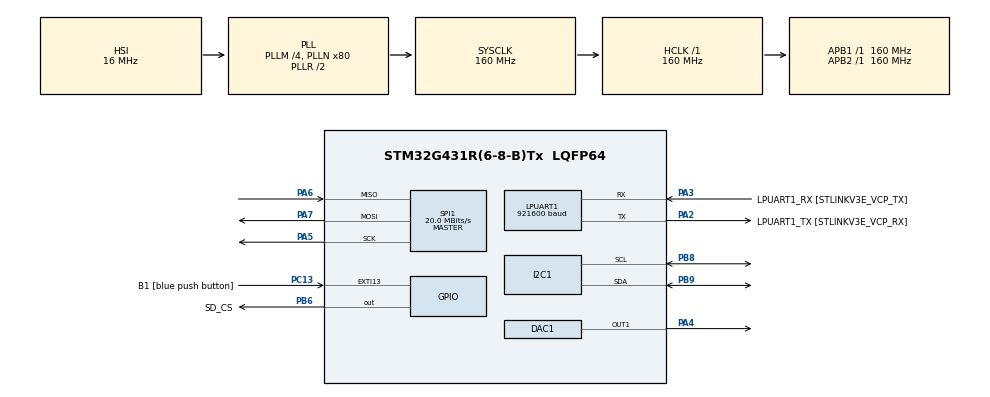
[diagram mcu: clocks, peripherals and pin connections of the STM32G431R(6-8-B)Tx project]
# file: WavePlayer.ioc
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DAC1.DAC_Trigger_OUT1-DAC_OUT1=DAC_TRIGGER_T6_TRGO
Dma.DAC1_CH1.1.Direction=DMA_MEMORY_TO_PERIPH
Dma.DAC1_CH1.1.EventEnable=DISABLE
Dma.DAC1_CH1.1.Instance=DMA2_Channel1
Dma.DAC1_CH1.1.MemDataAlignment=DMA_MDATAALIGN_HALFWORD
Dma.DAC1_CH1.1.MemInc=DMA_MINC_ENABLE
Dma.DAC1_CH1.1.Mode=DMA_NORMAL
Dma.DAC1_CH1.1.PeriphDataAlignment=DMA_PDATAALIGN_WORD
Dma.DAC1_CH1.1.PeriphInc=DMA_PINC_DISABLE
Dma.DAC1_CH1.1.Polarity=HAL_DMAMUX_REQ_GEN_RISING
Dma.DAC1_CH1.1.Priority=DMA_PRIORITY_LOW
Dma.DAC1_CH1.1.RequestNumber=1
Dma.DAC1_CH1.1.SignalID=NONE
Dma.DAC1_CH1.1.SyncEnable=DISABLE
Dma.DAC1_CH1.1.SyncPolarity=HAL_DMAMUX_SYNC_NO_EVENT
Dma.DAC1_CH1.1.SyncRequestNumber=1
Dma.DAC1_CH1.1.SyncSignalID=NONE
Dma.I2C1_TX.0.Direction=DMA_MEMORY_TO_PERIPH
Dma.I2C1_TX.0.EventEnable=DISABLE
Dma.I2C1_TX.0.Instance=DMA1_Channel1
Dma.I2C1_TX.0.MemDataAlignment=DMA_MDATAALIGN_BYTE
Dma.I2C1_TX.0.MemInc=DMA_MINC_ENABLE
Dma.I2C1_TX.0.Mode=DMA_NORMAL
Dma.I2C1_TX.0.PeriphDataAlignment=DMA_PDATAALIGN_BYTE
Dma.I2C1_TX.0.PeriphInc=DMA_PINC_DISABLE
Dma.I2C1_TX.0.Polarity=HAL_DMAMUX_REQ_GEN_RISING
Dma.I2C1_TX.0.Priority=DMA_PRIORITY_LOW
Dma.I2C1_TX.0.RequestNumber=1
Dma.I2C1_TX.0.SignalID=NONE
Dma.I2C1_TX.0.SyncEnable=DISABLE
Dma.I2C1_TX.0.SyncPolarity=HAL_DMAMUX_SYNC_NO_EVENT
Dma.I2C1_TX.0.SyncRequestNumber=1
Dma.I2C1_TX.0.SyncSignalID=NONE
Dma.LPUART1_TX.2.Direction=DMA_MEMORY_TO_PERIPH
Dma.LPUART1_TX.2.EventEnable=DISABLE
Dma.LPUART1_TX.2.Instance=DMA1_Channel3
Dma.LPUART1_TX.2.MemDataAlignment=DMA_MDATAALIGN_BYTE
Dma.LPUART1_TX.2.MemInc=DMA_MINC_ENABLE
Dma.LPUART1_TX.2.Mode=DMA_NORMAL
Dma.LPUART1_TX.2.PeriphDataAlignment=DMA_PDATAALIGN_BYTE
Dma.LPUART1_TX.2.PeriphInc=DMA_PINC_DISABLE
Dma.LPUART1_TX.2.Polarity=HAL_DMAMUX_REQ_GEN_RISING
Dma.LPUART1_TX.2.Priority=DMA_PRIORITY_LOW
Dma.LPUART1_TX.2.RequestNumber=1
Dma.LPUART1_TX.2.SignalID=NONE
Dma.LPUART1_TX.2.SyncEnable=DISABLE
Dma.LPUART1_TX.2.SyncPolarity=HAL_DMAMUX_SYNC_NO_EVENT
Dma.LPUART1_TX.2.SyncRequestNumber=1
Dma.LPUART1_TX.2.SyncSignalID=NONE
Dma.Request0=I2C1_TX
Dma.Request1=DAC1_CH1
Dma.Request2=LPUART1_TX
FATFS._CODE_PAGE=850
FATFS._FS_NORTC=0
FATFS._FS_RPATH=1
FATFS._LFN_UNICODE=0
FATFS._MAX_SS=1024
FATFS._STRF_ENCODE=3
FATFS._USE_LFN=1
I2C1.Timing=0x30909DEC
LPUART1.BaudRate=921600
Mcu.Family=STM32G4
Mcu.Name=STM32G431R(6-8-B)Tx
Mcu.Package=LQFP64
NVIC.DMA1_Channel1_IRQn=true\:0\:0\:false\:false\:true\:false\:true
NVIC.DMA1_Channel3_IRQn=true\:0\:0\:false\:false\:true\:false\:true
NVIC.DMA2_Channel1_IRQn=true\:0\:0\:false\:false\:true\:false\:true
NVIC.EXTI15_10_IRQn=true\:0\:0\:false\:false\:true\:true\:true
NVIC.I2C1_EV_IRQn=true\:0\:0\:false\:false\:true\:true\:true
NVIC.LPUART1_IRQn=true\:0\:0\:false\:false\:true\:true\:true
NVIC.PriorityGroup=NVIC_PRIORITYGROUP_4
NVIC.RTC_WKUP_IRQn=true\:0\:0\:true\:false\:true\:true\:true
PA13.GPIO_Label=T_SWDIO
PA13.Mode=Serial_Wire
PA13.Signal=SYS_JTMS-SWDIO
PA14.GPIO_Label=T_SWCLK
PA14.Mode=Serial_Wire
PA14.Signal=SYS_JTCK-SWCLK
PA2.GPIO_Label=LPUART1_TX [STLINKV3E_VCP_RX]
PA2.GPIO_Speed=GPIO_SPEED_FREQ_MEDIUM
PA2.Mode=Asynchronous
PA2.Signal=LPUART1_TX
PA3.GPIO_Label=LPUART1_RX [STLINKV3E_VCP_TX]
PA3.GPIO_Speed=GPIO_SPEED_FREQ_MEDIUM
PA3.Mode=Asynchronous
PA3.Signal=LPUART1_RX
PA4.Signal=COMP_DAC11_group
PA5.GPIO_Speed=GPIO_SPEED_FREQ_VERY_HIGH
PA5.Mode=Full_Duplex_Master
PA5.Signal=SPI1_SCK
PA6.GPIO_Speed=GPIO_SPEED_FREQ_VERY_HIGH
PA6.Mode=Full_Duplex_Master
PA6.Signal=SPI1_MISO
PA7.GPIO_Speed=GPIO_SPEED_FREQ_VERY_HIGH
PA7.Mode=Full_Duplex_Master
PA7.Signal=SPI1_MOSI
PB3.GPIO_Label=T_SWO
PB3.Signal=SYS_JTDO-SWO
PB6.GPIO_Label=SD_CS
PB6.Signal=GPIO_Output
PB8-BOOT0.Mode=I2C
PB8-BOOT0.Signal=I2C1_SCL
PB9.Mode=I2C
PB9.Signal=I2C1_SDA
PC13.GPIO_Label=B1 [blue push button]
PC13.Signal=GPXTI13
PC14-OSC32_IN.Mode=LSE-External-Oscillator
PC14-OSC32_IN.Signal=RCC_OSC32_IN
PC15-OSC32_OUT.Mode=LSE-External-Oscillator
PC15-OSC32_OUT.Signal=RCC_OSC32_OUT
PF0-OSC_IN.Signal=RCC_OSC_IN
PF1-OSC_OUT.Signal=RCC_OSC_OUT
ProjectManager.HeapSize=0x400
ProjectManager.StackSize=0x800
ProjectManager.TargetToolchain=Makefile
RCC.ADC12Freq_Value=160000000
RCC.AHBFreq_Value=160000000
RCC.APB1Freq_Value=160000000
RCC.APB1TimFreq_Value=160000000
RCC.APB2Freq_Value=160000000
RCC.APB2TimFreq_Value=160000000
RCC.CortexFreq_Value=160000000
RCC.EXTERNAL_CLOCK_VALUE=12288000
RCC.HCLKFreq_Value=160000000
RCC.HSE_VALUE=24000000
RCC.HSI48_VALUE=48000000
RCC.HSI_VALUE=16000000
RCC.PLLM=RCC_PLLM_DIV4
RCC.PLLN=80
RCC.RTCClockSelection=RCC_RTCCLKSOURCE_LSE
RCC.SYSCLKFreq_VALUE=160000000
RCC.SYSCLKSource=RCC_SYSCLKSOURCE_PLLCLK
RCC.USBFreq_Value=160000000
RCC.VCOOutputFreq_Value=320000000
RTC.Date=15
RTC.Format=RTC_FORMAT_BIN
RTC.Hours=14
RTC.Minutes=21
RTC.Month=RTC_MONTH_MARCH
RTC.Seconds=12
RTC.WakeUpClock-WakeUp=RTC_WAKEUPCLOCK_CK_SPRE_16BITS
RTC.WeekDay=RTC_WEEKDAY_MONDAY
RTC.Year=21
SH.COMP_DAC11_group.0=DAC1_OUT1,DAC_OUT1
SPI1.BaudRatePrescaler=SPI_BAUDRATEPRESCALER_8
SPI1.CalculateBaudRate=20.0 MBits/s
SPI1.DataSize=SPI_DATASIZE_8BIT
SPI1.Direction=SPI_DIRECTION_2LINES
SPI1.Mode=SPI_MODE_MASTER
SPI1.NSSPMode=SPI_NSS_PULSE_DISABLE
SPI1.VirtualType=VM_MASTER
TIM6.TIM_MasterOutputTrigger=TIM_TRGO_UPDATE
VP_FATFS_VS_Generic.Mode=User_defined
VP_RTC_VS_RTC_Activate.Mode=RTC_Enabled
VP_RTC_VS_RTC_Calendar.Mode=RTC_Calendar
VP_RTC_VS_RTC_WakeUp_intern.Mode=WakeUp
VP_SYS_VS_DBSignals.Mode=DisableDeadBatterySignals
VP_TIM6_VS_ClockSourceINT.Mode=Enable_Timer
board=NUCLEO-G431RB

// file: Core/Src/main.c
/* USER CODE BEGIN Header */
/**
  ******************************************************************************
  * @file           : main.c
  * @brief          : Main program body
  ******************************************************************************
  * @attention
  *
  * <h2><center>&copy; Copyright (c) 2021 STMicroelectronics.
  * All rights reserved.</center></h2>
  *
  * This software component is licensed by ST under BSD 3-Clause license,
  * the "License"; You may not use this file except in compliance with the
  * License. You may obtain a copy of the License at:
  *                        opensource.org/licenses/BSD-3-Clause
  *
  ******************************************************************************
  */
/* USER CODE END Header */
#include "main.h"
#include "app_fatfs.h"

/* USER CODE BEGIN Includes */
#include "ssd1306.h"
#include "fonts.h"
#include "stm32g4xx_lp_modes.h"
#include "fatfs_sd.h"
#include "wav.h"
#include "printf.h"

/* USER CODE END Includes */

DAC_HandleTypeDef hdac1;
DMA_HandleTypeDef hdma_dac1_ch1;

I2C_HandleTypeDef hi2c1;
DMA_HandleTypeDef hdma_i2c1_tx;

UART_HandleTypeDef hlpuart1;
DMA_HandleTypeDef hdma_lpuart1_tx;

RTC_HandleTypeDef hrtc;

SPI_HandleTypeDef hspi1;

TIM_HandleTypeDef htim6;

/* USER CODE BEGIN PV */
SSD1306_COLOR lcdColor = White;
uint8_t timerFlag = 0;
extern uint8_t playerBusy;
extern uint8_t playerBuffEmpty;

/* USER CODE END PV */

void SystemClock_Config(void);
static void MX_GPIO_Init(void);
static void MX_DMA_Init(void);
static void MX_LPUART1_UART_Init(void);
static void MX_I2C1_Init(void);
static void MX_RTC_Init(void);
static void MX_DAC1_Init(void);
static void MX_SPI1_Init(void);
static void MX_TIM6_Init(void);

/* USER CODE BEGIN 0 */

void _putchar(char character)
{
  // send char to console etc.
  uint8_t s[2] = { 0 };
  s[0] = character;
  HAL_UART_Transmit(&hlpuart1, s, 1, 1);
}

/* USER CODE END 0 */

int main(void)
{
  /* USER CODE BEGIN 1 */
  int count = 1;
  char tmpBuf[128] = {0};
  RTC_TimeTypeDef timeOfRtc = {0};
  RTC_DateTypeDef dayOfRtc = {0};

  /* USER CODE END 1 */

  /* MCU Configuration--------------------------------------------------------*/

  /* Reset of all peripherals, Initializes the Flash interface and the Systick. */
  HAL_Init();

  /* Configure the system clock */
  SystemClock_Config();

  /* Initialize all configured peripherals */
  MX_GPIO_Init();
  MX_DMA_Init();
  MX_LPUART1_UART_Init();
  MX_I2C1_Init();
  MX_RTC_Init();
  MX_DAC1_Init();
  MX_SPI1_Init();
  if (MX_FATFS_Init() != APP_OK) {
    Error_Handler();
  }
  MX_TIM6_Init();
  /* USER CODE BEGIN 2 */

  ssd1306_Init();
  HAL_Delay(50);
  ssd1306_Fill(Black);

  ssd1306_SetCursor(8,8);
  ssd1306_WriteString("Init...",Font_11x18,White);
  ssd1306_UpdateScreen();
  HAL_Delay(200);

  HAL_RTCEx_DeactivateWakeUpTimer(&hrtc);
  HAL_RTCEx_SetWakeUpTimer_IT(&hrtc, 0, RTC_WAKEUPCLOCK_CK_SPRE_16BITS);

  WavPlayerInit(&htim6, &hdac1);

  HAL_TIM_Base_Start(&htim6);

  if (playerBusy == 0)
  {
    //WavPlayAll();
#if 1
	WavPlayFile("Afire.WAV");
#else
	WavPlayFile("ymdnzs.WAV");
	//WavPlayFile("TS.WAV");
#endif
  }

  /* USER CODE END 2 */

  /* Infinite loop */
  while (1)
  {

    /* USER CODE BEGIN 3 */
    //HAL_GPIO_TogglePin(LD2_GPIO_Port, LD2_Pin);

    //sprintf(tmpBuf, "Rtc:20%02d-%02d-%02dT%02d:%02d:%02d\n\r", dayOfRtc.Year, dayOfRtc.Month, dayOfRtc.Date
      //, timeOfRtc.Hours, timeOfRtc.Minutes, timeOfRtc.Seconds);
    //HAL_UART_Transmit(&hlpuart1, (uint8_t*)tmpBuf, 64, 64);

    if (timerFlag != 0)
    {
		timerFlag = 0;
		count++;
		if (count % 60 == 0)
		{
			if (lcdColor == Black)
			{
				lcdColor = White;
				ssd1306_Fill(Black);
			}
			else
			{
				lcdColor = Black;
				ssd1306_Fill(White);
			}
			if (playerBusy == 0)
			{
				WavPlayFile("TS.WAV");
			}
		}
		HAL_RTC_GetTime(&hrtc, &timeOfRtc, RTC_FORMAT_BIN);
		HAL_RTC_GetDate(&hrtc, &dayOfRtc, RTC_FORMAT_BIN);

		ssd1306_SetCursor(0,8);
		sprintf(tmpBuf, "%02d:%02d:%02d", timeOfRtc.Hours, timeOfRtc.Minutes, timeOfRtc.Seconds);
		ssd1306_WriteString(tmpBuf,Font_11x18,lcdColor);
		ssd1306_UpdateScreen();
    }
	if (playerBuffEmpty != 0)
	{
		PlayTask();
	}
  }
  /* USER CODE END 3 */
}

void SystemClock_Config(void)
{
  RCC_OscInitTypeDef RCC_OscInitStruct = {0};
  RCC_ClkInitTypeDef RCC_ClkInitStruct = {0};
  RCC_PeriphCLKInitTypeDef PeriphClkInit = {0};

  /** Configure the main internal regulator output voltage
  */
  HAL_PWREx_ControlVoltageScaling(PWR_REGULATOR_VOLTAGE_SCALE1_BOOST);
  /** Configure LSE Drive Capability
  */
  HAL_PWR_EnableBkUpAccess();
  __HAL_RCC_LSEDRIVE_CONFIG(RCC_LSEDRIVE_LOW);
  /** Initializes the RCC Oscillators according to the specified parameters
  * in the RCC_OscInitTypeDef structure.
  */
  RCC_OscInitStruct.OscillatorType = RCC_OSCILLATORTYPE_HSI|RCC_OSCILLATORTYPE_LSE;
  RCC_OscInitStruct.LSEState = RCC_LSE_ON;
  RCC_OscInitStruct.HSIState = RCC_HSI_ON;
  RCC_OscInitStruct.HSICalibrationValue = RCC_HSICALIBRATION_DEFAULT;
  RCC_OscInitStruct.PLL.PLLState = RCC_PLL_ON;
  RCC_OscInitStruct.PLL.PLLSource = RCC_PLLSOURCE_HSI;
  RCC_OscInitStruct.PLL.PLLM = RCC_PLLM_DIV4;
  RCC_OscInitStruct.PLL.PLLN = 80;
  RCC_OscInitStruct.PLL.PLLP = RCC_PLLP_DIV2;
  RCC_OscInitStruct.PLL.PLLQ = RCC_PLLQ_DIV2;
  RCC_OscInitStruct.PLL.PLLR = RCC_PLLR_DIV2;
  if (HAL_RCC_OscConfig(&RCC_OscInitStruct) != HAL_OK)
  {
    Error_Handler();
  }
  /** Initializes the CPU, AHB and APB buses clocks
  */
  RCC_ClkInitStruct.ClockType = RCC_CLOCKTYPE_HCLK|RCC_CLOCKTYPE_SYSCLK
                              |RCC_CLOCKTYPE_PCLK1|RCC_CLOCKTYPE_PCLK2;
  RCC_ClkInitStruct.SYSCLKSource = RCC_SYSCLKSOURCE_PLLCLK;
  RCC_ClkInitStruct.AHBCLKDivider = RCC_SYSCLK_DIV1;
  RCC_ClkInitStruct.APB1CLKDivider = RCC_HCLK_DIV1;
  RCC_ClkInitStruct.APB2CLKDivider = RCC_HCLK_DIV1;

  if (HAL_RCC_ClockConfig(&RCC_ClkInitStruct, FLASH_LATENCY_4) != HAL_OK)
  {
    Error_Handler();
  }
  /** Initializes the peripherals clocks
  */
  PeriphClkInit.PeriphClockSelection = RCC_PERIPHCLK_RTC|RCC_PERIPHCLK_LPUART1
                              |RCC_PERIPHCLK_I2C1;
  PeriphClkInit.Lpuart1ClockSelection = RCC_LPUART1CLKSOURCE_PCLK1;
  PeriphClkInit.I2c1ClockSelection = RCC_I2C1CLKSOURCE_PCLK1;
  PeriphClkInit.RTCClockSelection = RCC_RTCCLKSOURCE_LSE;

  if (HAL_RCCEx_PeriphCLKConfig(&PeriphClkInit) != HAL_OK)
  {
    Error_Handler();
  }
}

static void MX_DAC1_Init(void)
{

  DAC_ChannelConfTypeDef sConfig = {0};

  /** DAC Initialization
  */
  hdac1.Instance = DAC1;
  if (HAL_DAC_Init(&hdac1) != HAL_OK)
  {
    Error_Handler();
  }
  /** DAC channel OUT1 config
  */
  sConfig.DAC_HighFrequency = DAC_HIGH_FREQUENCY_INTERFACE_MODE_AUTOMATIC;
  sConfig.DAC_DMADoubleDataMode = DISABLE;
  sConfig.DAC_SignedFormat = DISABLE;
  sConfig.DAC_SampleAndHold = DAC_SAMPLEANDHOLD_DISABLE;
  sConfig.DAC_Trigger = DAC_TRIGGER_T6_TRGO;
  sConfig.DAC_Trigger2 = DAC_TRIGGER_NONE;
  sConfig.DAC_OutputBuffer = DAC_OUTPUTBUFFER_ENABLE;
  sConfig.DAC_ConnectOnChipPeripheral = DAC_CHIPCONNECT_EXTERNAL;
  sConfig.DAC_UserTrimming = DAC_TRIMMING_FACTORY;
  if (HAL_DAC_ConfigChannel(&hdac1, &sConfig, DAC_CHANNEL_1) != HAL_OK)
  {
    Error_Handler();
  }

}

static void MX_I2C1_Init(void)
{

  hi2c1.Instance = I2C1;
  hi2c1.Init.Timing = 0x30909DEC;
  hi2c1.Init.OwnAddress1 = 0;
  hi2c1.Init.AddressingMode = I2C_ADDRESSINGMODE_7BIT;
  hi2c1.Init.DualAddressMode = I2C_DUALADDRESS_DISABLE;
  hi2c1.Init.OwnAddress2 = 0;
  hi2c1.Init.OwnAddress2Masks = I2C_OA2_NOMASK;
  hi2c1.Init.GeneralCallMode = I2C_GENERALCALL_DISABLE;
  hi2c1.Init.NoStretchMode = I2C_NOSTRETCH_DISABLE;
  if (HAL_I2C_Init(&hi2c1) != HAL_OK)
  {
    Error_Handler();
  }
  /** Configure Analogue filter
  */
  if (HAL_I2CEx_ConfigAnalogFilter(&hi2c1, I2C_ANALOGFILTER_ENABLE) != HAL_OK)
  {
    Error_Handler();
  }
  /** Configure Digital filter
  */
  if (HAL_I2CEx_ConfigDigitalFilter(&hi2c1, 0) != HAL_OK)
  {
    Error_Handler();
  }

}

static void MX_LPUART1_UART_Init(void)
{

  hlpuart1.Instance = LPUART1;
  hlpuart1.Init.BaudRate = 921600;
  hlpuart1.Init.WordLength = UART_WORDLENGTH_8B;
  hlpuart1.Init.StopBits = UART_STOPBITS_1;
  hlpuart1.Init.Parity = UART_PARITY_NONE;
  hlpuart1.Init.Mode = UART_MODE_TX_RX;
  hlpuart1.Init.HwFlowCtl = UART_HWCONTROL_NONE;
  hlpuart1.Init.OneBitSampling = UART_ONE_BIT_SAMPLE_DISABLE;
  hlpuart1.Init.ClockPrescaler = UART_PRESCALER_DIV1;
  hlpuart1.AdvancedInit.AdvFeatureInit = UART_ADVFEATURE_NO_INIT;
  if (HAL_UART_Init(&hlpuart1) != HAL_OK)
  {
    Error_Handler();
  }
  if (HAL_UARTEx_SetTxFifoThreshold(&hlpuart1, UART_TXFIFO_THRESHOLD_1_8) != HAL_OK)
  {
    Error_Handler();
  }
  if (HAL_UARTEx_SetRxFifoThreshold(&hlpuart1, UART_RXFIFO_THRESHOLD_1_8) != HAL_OK)
  {
    Error_Handler();
  }
  if (HAL_UARTEx_DisableFifoMode(&hlpuart1) != HAL_OK)
  {
    Error_Handler();
  }

}

static void MX_RTC_Init(void)
{

  RTC_TimeTypeDef sTime = {0};
  RTC_DateTypeDef sDate = {0};

  /** Initialize RTC Only
  */
  hrtc.Instance = RTC;
  hrtc.Init.HourFormat = RTC_HOURFORMAT_24;
  hrtc.Init.AsynchPrediv = 127;
  hrtc.Init.SynchPrediv = 255;
  hrtc.Init.OutPut = RTC_OUTPUT_DISABLE;
  hrtc.Init.OutPutRemap = RTC_OUTPUT_REMAP_NONE;
  hrtc.Init.OutPutPolarity = RTC_OUTPUT_POLARITY_HIGH;
  hrtc.Init.OutPutType = RTC_OUTPUT_TYPE_OPENDRAIN;
  hrtc.Init.OutPutPullUp = RTC_OUTPUT_PULLUP_NONE;
  if (HAL_RTC_Init(&hrtc) != HAL_OK)
  {
    Error_Handler();
  }

  /* USER CODE BEGIN Check_RTC_BKUP */
  if (HAL_RTCEx_BKUPRead(&hrtc, 0) == 0xfc)
  {
    goto exit;
  }

  HAL_RTCEx_BKUPWrite(&hrtc, 0, 0xfc);

  /* USER CODE END Check_RTC_BKUP */

  /** Initialize RTC and set the Time and Date
  */
  sTime.Hours = 14;
  sTime.Minutes = 21;
  sTime.Seconds = 12;
  sTime.SubSeconds = 0;
  sTime.DayLightSaving = RTC_DAYLIGHTSAVING_NONE;
  sTime.StoreOperation = RTC_STOREOPERATION_RESET;
  if (HAL_RTC_SetTime(&hrtc, &sTime, RTC_FORMAT_BIN) != HAL_OK)
  {
    Error_Handler();
  }
  sDate.WeekDay = RTC_WEEKDAY_MONDAY;
  sDate.Month = RTC_MONTH_MARCH;
  sDate.Date = 15;
  sDate.Year = 21;

  if (HAL_RTC_SetDate(&hrtc, &sDate, RTC_FORMAT_BIN) != HAL_OK)
  {
    Error_Handler();
  }
  /** Enable the WakeUp
  */
  if (HAL_RTCEx_SetWakeUpTimer_IT(&hrtc, 0, RTC_WAKEUPCLOCK_CK_SPRE_16BITS) != HAL_OK)
  {
    Error_Handler();
  }
  /* USER CODE BEGIN RTC_Init 2 */
  exit:;
  /* USER CODE END RTC_Init 2 */

}

static void MX_SPI1_Init(void)
{

  /* SPI1 parameter configuration*/
  hspi1.Instance = SPI1;
  hspi1.Init.Mode = SPI_MODE_MASTER;
  hspi1.Init.Direction = SPI_DIRECTION_2LINES;
  hspi1.Init.DataSize = SPI_DATASIZE_8BIT;
  hspi1.Init.CLKPolarity = SPI_POLARITY_LOW;
  hspi1.Init.CLKPhase = SPI_PHASE_1EDGE;
  hspi1.Init.NSS = SPI_NSS_SOFT;
  hspi1.Init.BaudRatePrescaler = SPI_BAUDRATEPRESCALER_8;
  hspi1.Init.FirstBit = SPI_FIRSTBIT_MSB;
  hspi1.Init.TIMode = SPI_TIMODE_DISABLE;
  hspi1.Init.CRCCalculation = SPI_CRCCALCULATION_DISABLE;
  hspi1.Init.CRCPolynomial = 7;
  hspi1.Init.CRCLength = SPI_CRC_LENGTH_DATASIZE;
  hspi1.Init.NSSPMode = SPI_NSS_PULSE_DISABLE;
  if (HAL_SPI_Init(&hspi1) != HAL_OK)
  {
    Error_Handler();
  }

}

static void MX_TIM6_Init(void)
{

  TIM_MasterConfigTypeDef sMasterConfig = {0};

  htim6.Instance = TIM6;
  htim6.Init.Prescaler = 0;
  htim6.Init.CounterMode = TIM_COUNTERMODE_UP;
  htim6.Init.Period = 65535;
  htim6.Init.AutoReloadPreload = TIM_AUTORELOAD_PRELOAD_DISABLE;
  if (HAL_TIM_Base_Init(&htim6) != HAL_OK)
  {
    Error_Handler();
  }
  sMasterConfig.MasterOutputTrigger = TIM_TRGO_UPDATE;
  sMasterConfig.MasterSlaveMode = TIM_MASTERSLAVEMODE_DISABLE;
  if (HAL_TIMEx_MasterConfigSynchronization(&htim6, &sMasterConfig) != HAL_OK)
  {
    Error_Handler();
  }

}

static void MX_DMA_Init(void)
{

  /* DMA controller clock enable */
  __HAL_RCC_DMAMUX1_CLK_ENABLE();
  __HAL_RCC_DMA1_CLK_ENABLE();
  __HAL_RCC_DMA2_CLK_ENABLE();

  /* DMA interrupt init */
  /* DMA1_Channel1_IRQn interrupt configuration */
  HAL_NVIC_SetPriority(DMA1_Channel1_IRQn, 0, 0);
  HAL_NVIC_EnableIRQ(DMA1_Channel1_IRQn);
  /* DMA1_Channel3_IRQn interrupt configuration */
  HAL_NVIC_SetPriority(DMA1_Channel3_IRQn, 0, 0);
  HAL_NVIC_EnableIRQ(DMA1_Channel3_IRQn);
  /* DMA2_Channel1_IRQn interrupt configuration */
  HAL_NVIC_SetPriority(DMA2_Channel1_IRQn, 0, 0);
  HAL_NVIC_EnableIRQ(DMA2_Channel1_IRQn);

}

static void MX_GPIO_Init(void)
{
  GPIO_InitTypeDef GPIO_InitStruct = {0};

  /* GPIO Ports Clock Enable */
  __HAL_RCC_GPIOC_CLK_ENABLE();
  __HAL_RCC_GPIOF_CLK_ENABLE();
  __HAL_RCC_GPIOG_CLK_ENABLE();
  __HAL_RCC_GPIOA_CLK_ENABLE();
  __HAL_RCC_GPIOB_CLK_ENABLE();
  __HAL_RCC_GPIOD_CLK_ENABLE();

  /*Configure GPIO pin Output Level */
  HAL_GPIO_WritePin(SD_CS_GPIO_Port, SD_CS_Pin, GPIO_PIN_RESET);

  /*Configure GPIO pin : B1_Pin */
  GPIO_InitStruct.Pin = B1_Pin;
  GPIO_InitStruct.Mode = GPIO_MODE_IT_RISING;
  GPIO_InitStruct.Pull = GPIO_NOPULL;
  HAL_GPIO_Init(B1_GPIO_Port, &GPIO_InitStruct);

  /*Configure GPIO pin : PG10 */
  GPIO_InitStruct.Pin = GPIO_PIN_10;
  GPIO_InitStruct.Mode = GPIO_MODE_ANALOG;
  GPIO_InitStruct.Pull = GPIO_NOPULL;
  HAL_GPIO_Init(GPIOG, &GPIO_InitStruct);

  /*Configure GPIO pins : PC0 PC1 PC2 PC3
                           PC4 PC5 PC6 PC7
                           PC8 PC9 PC10 PC11
                           PC12 */
  GPIO_InitStruct.Pin = GPIO_PIN_0|GPIO_PIN_1|GPIO_PIN_2|GPIO_PIN_3
                          |GPIO_PIN_4|GPIO_PIN_5|GPIO_PIN_6|GPIO_PIN_7
                          |GPIO_PIN_8|GPIO_PIN_9|GPIO_PIN_10|GPIO_PIN_11
                          |GPIO_PIN_12;
  GPIO_InitStruct.Mode = GPIO_MODE_ANALOG;
  GPIO_InitStruct.Pull = GPIO_NOPULL;
  HAL_GPIO_Init(GPIOC, &GPIO_InitStruct);

  /*Configure GPIO pins : PA0 PA1 PA8 PA9
                           PA10 PA11 PA12 PA15 */
  GPIO_InitStruct.Pin = GPIO_PIN_0|GPIO_PIN_1|GPIO_PIN_8|GPIO_PIN_9
                          |GPIO_PIN_10|GPIO_PIN_11|GPIO_PIN_12|GPIO_PIN_15;
  GPIO_InitStruct.Mode = GPIO_MODE_ANALOG;
  GPIO_InitStruct.Pull = GPIO_NOPULL;
  HAL_GPIO_Init(GPIOA, &GPIO_InitStruct);

  /*Configure GPIO pins : PB0 PB1 PB2 PB10
                           PB11 PB12 PB13 PB14
                           PB15 PB4 PB5 PB7 */
  GPIO_InitStruct.Pin = GPIO_PIN_0|GPIO_PIN_1|GPIO_PIN_2|GPIO_PIN_10
                          |GPIO_PIN_11|GPIO_PIN_12|GPIO_PIN_13|GPIO_PIN_14
                          |GPIO_PIN_15|GPIO_PIN_4|GPIO_PIN_5|GPIO_PIN_7;
  GPIO_InitStruct.Mode = GPIO_MODE_ANALOG;
  GPIO_InitStruct.Pull = GPIO_NOPULL;
  HAL_GPIO_Init(GPIOB, &GPIO_InitStruct);

  /*Configure GPIO pin : PD2 */
  GPIO_InitStruct.Pin = GPIO_PIN_2;
  GPIO_InitStruct.Mode = GPIO_MODE_ANALOG;
  GPIO_InitStruct.Pull = GPIO_NOPULL;
  HAL_GPIO_Init(GPIOD, &GPIO_InitStruct);

  /*Configure GPIO pin : SD_CS_Pin */
  GPIO_InitStruct.Pin = SD_CS_Pin;
  GPIO_InitStruct.Mode = GPIO_MODE_OUTPUT_PP;
  GPIO_InitStruct.Pull = GPIO_NOPULL;
  GPIO_InitStruct.Speed = GPIO_SPEED_FREQ_LOW;
  HAL_GPIO_Init(SD_CS_GPIO_Port, &GPIO_InitStruct);

  /* EXTI interrupt init*/
  HAL_NVIC_SetPriority(EXTI15_10_IRQn, 0, 0);
  HAL_NVIC_EnableIRQ(EXTI15_10_IRQn);

}

/* USER CODE BEGIN 4 */

/*
void HAL_DAC_ConvCpltCallbackCh1(DAC_HandleTypeDef* hdac)
{
	//plState = PLAYER_STATE_DMA_EMPTY;
	flg_dma_done = 1;
}
*/
void HAL_GPIO_EXTI_Callback(uint16_t GPIO_Pin)
{
  if (GPIO_Pin == B1_Pin)
  {
	VolumeAdj();
  }
}

void HAL_RTCEx_WakeUpTimerEventCallback(RTC_HandleTypeDef *hrtc)
{
  timerFlag = 1;
}

void HAL_I2C_MemTxCpltCallback(I2C_HandleTypeDef *hi2c)
{
	if(hi2c->Instance == hi2c1.Instance)
	{
#ifdef SSD1306_USING_DMA
		ssd1306_IntCallBack();
#endif
	}
}

/* USER CODE END 4 */

void Error_Handler(void)
{
  while(1)
  {
  }
}

/************************ (C) COPYRIGHT STMicroelectronics *****END OF FILE****/
